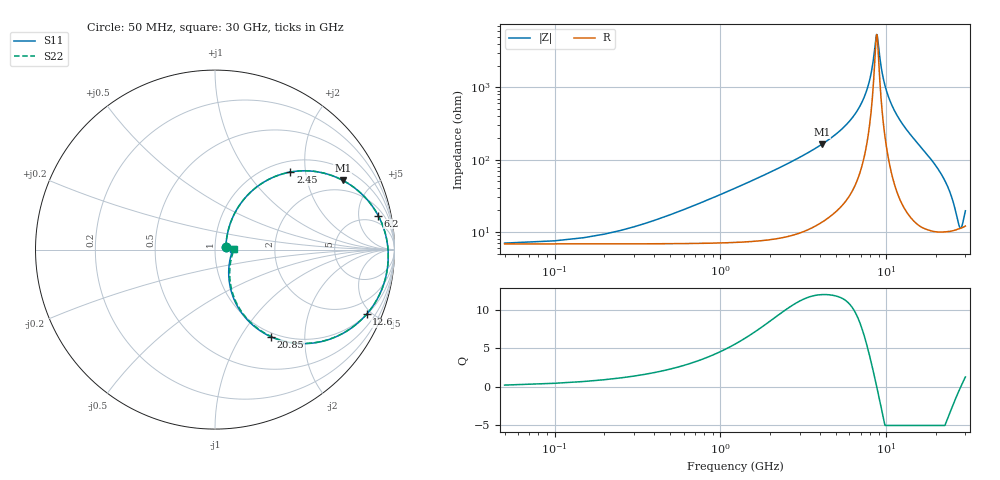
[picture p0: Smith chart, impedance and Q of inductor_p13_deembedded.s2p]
! openEMS extraction of the IHP SG13G2 inductor PCell, geometry p13
! port parasitic de-embedded by cascading a negative series L per port
! L_port = [1.875 1.875] pH (Terman flat-ribbon, from port_information.json)
# Hz S RI R 50
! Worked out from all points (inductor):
!   600 points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, 50 MHz to 30 GHz, reference 50 ohm
!   read as one part in series: L = 5.04 nH near 650 MHz
!   highest Q = 12 at 4.1 GHz (marker M1), where L = 6.33 nH
!   self-resonance near 8.75 GHz
!   S11 on the Smith chart (normalised r, x): 50 MHz: 1.13, +0.03; 2.45 GHz: 1.22, +1.65; 6.2 GHz: 3.10, +8.57; 12.6 GHz: 1.02, -4.67; 20.85 GHz: 0.94, -1.37; 30 GHz: 1.23, +0.01
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5e7  0.0605 0.0136  0.9325 -0.0142  0.9328 -0.0142  0.0607 0.0135
6e8  0.0897 0.1582  0.9024 -0.1659  0.9026 -0.1661  0.0898 0.1581
1e9  0.1389 0.251  0.8519 -0.2632  0.8519 -0.2634  0.1388 0.2508
1.65e9  0.254 0.3645  0.7339 -0.3826  0.7337 -0.3827  0.2538 0.3645
2.45e9  0.4204 0.432  0.5648 -0.4552  0.5646 -0.4551  0.4202 0.4322
4.1e9  0.7118 0.3858  0.2727 -0.4191  0.2728 -0.4192  0.7117 0.3861
5.05e9  0.8225 0.305  0.1619 -0.3457  0.1619 -0.3458  0.8224 0.3053
6.2e9  0.9091 0.1899  0.0744 -0.2395  0.0743 -0.2395  0.909 0.1905
7.75e9  0.9607 0.0305  0.0217 -0.0914  0.0218 -0.0914  0.9609 0.0312
8.15e9  0.9645 -0.00897  0.0178 -0.0549  0.0179 -0.055  0.9647 -0.00829
8.75e9  0.9643 -0.066  0.0177 -0.00247  0.0177 -0.00254  0.9645 -0.0653
8.9e9  0.9633 -0.0799  0.0187 0.0102  0.0187 0.0101  0.9635 -0.0791
9.45e9  0.9565 -0.1291  0.0251 0.0552  0.0251 0.0551  0.9567 -0.1283
1.005e10  0.9441 -0.1801  0.0371 0.1015  0.037 0.1015  0.9443 -0.1792
1.11e10  0.9112 -0.262  0.069 0.1754  0.069 0.1755  0.9116 -0.261
1.26e10  0.8442 -0.3608  0.1349 0.2628  0.1349 0.2628  0.8448 -0.3598
1.505e10  0.7005 -0.4734  0.2761 0.3562  0.2761 0.3563  0.7016 -0.472
2.005e10  0.3611 -0.5046  0.6087 0.3486  0.6088 0.3487  0.3638 -0.5034
2.085e10  0.3108 -0.4854  0.6578 0.3232  0.6578 0.3231  0.3138 -0.4843
2.505e10  0.1159 -0.2985  0.8452 0.1036  0.8452 0.1034  0.1204 -0.2984
2.9e10  0.0836 -0.0555  0.869 -0.17  0.869 -0.1703  0.0893 -0.0575
3e10  0.1016 0.00402  0.8489 -0.2378  0.8484 -0.2378  0.1072 0.00171
